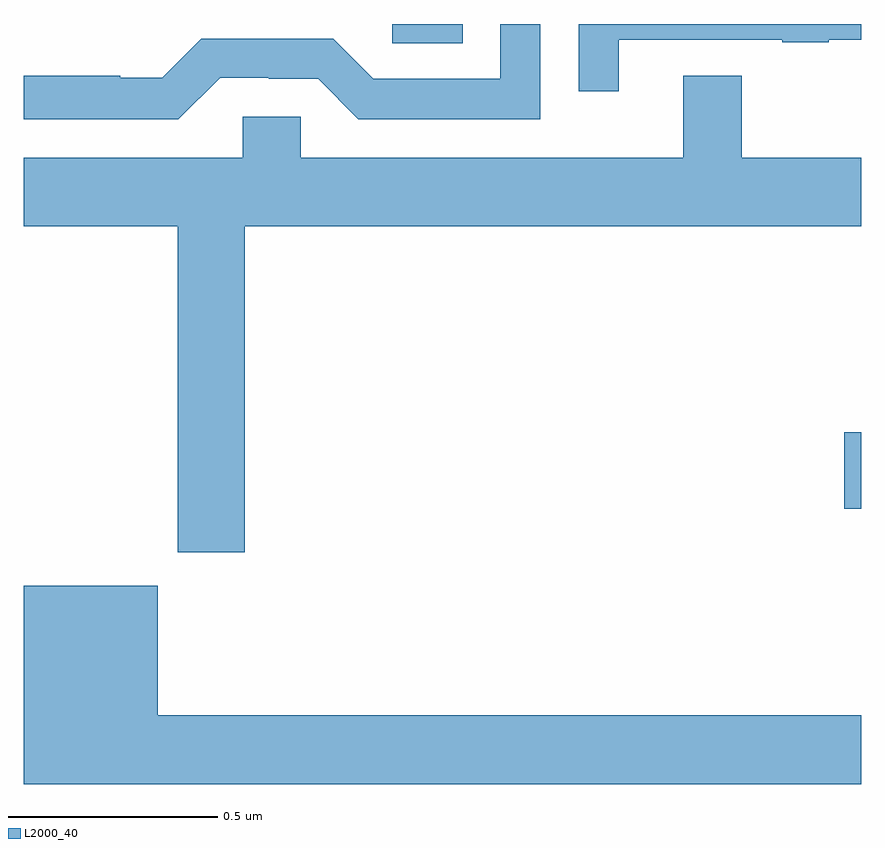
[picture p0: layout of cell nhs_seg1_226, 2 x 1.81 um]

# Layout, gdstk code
import gdstk
lib = gdstk.Library(unit=1e-6, precision=1e-09)
def R(c, l, rs):  # rectangles x0, y0, x1, y1
    for r in rs: c.add(gdstk.rectangle(r[:2], r[2:], *l))
def P(c, l, *ps):  # polygons
    for p in ps: c.add(gdstk.Polygon(p, *l))
L2000_40 = (2000, 40)

nhs_seg1_226 = lib.new_cell('nhs_seg1_226')
R(nhs_seg1_226, L2000_40, [(114.96,567.041,115,567.224), (113.88,568.153,114.048,568.199)])
P(nhs_seg1_226, L2000_40, [(113.469,568.071),(113.585,568.071),(113.585,568.068),(113.703,568.068),(113.799,567.972),(114.234,567.972),(114.234,568.199),(114.138,568.199),(114.138,568.068),(113.835,568.068),(113.739,568.164),(113.424,568.164),(113.331,568.071),(113.231,568.071),(113.231,568.075),(113,568.075),(113,567.971),(113.369,567.971)],
  [(114.421,568.161),(114.811,568.161),(114.811,568.156),(114.923,568.156),(114.923,568.161),(115,568.161),(115,568.199),(114.325,568.199),(114.325,568.038),(114.421,568.038)],
  [(113.528,567.716),(115,567.716),(115,567.88),(114.715,567.88),(114.715,568.075),(114.575,568.075),(114.575,567.88),(113.661,567.88),(113.661,567.978),(113.523,567.978),(113.523,567.88),(113,567.88),(113,567.716),(113.368,567.716),(113.368,566.937),(113.528,566.937)],
  [(115,566.548),(113.32,566.548),(113.32,566.857),(113,566.857),(113,566.384),(115,566.384)])

lib.write_gds('nhs_seg1_226.gds')
